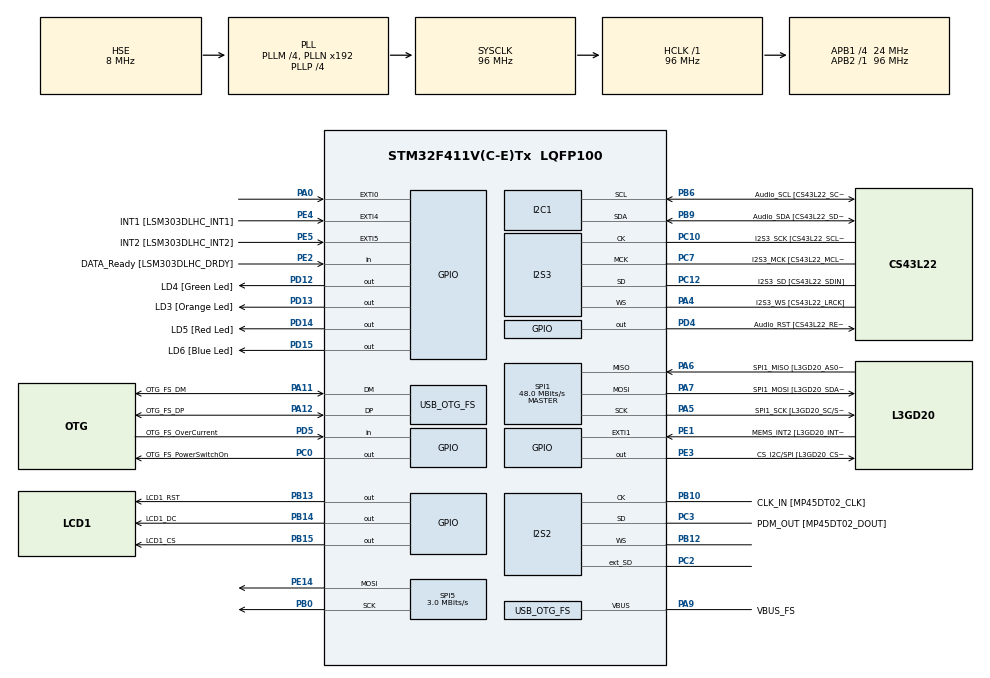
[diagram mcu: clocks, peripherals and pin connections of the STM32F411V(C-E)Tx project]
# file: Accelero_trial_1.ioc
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I2S2.AudioFreq=I2S_AUDIOFREQ_96K
I2S2.ErrorAudioFreq=0.15 %
I2S2.FullDuplexMode=I2S_FULLDUPLEXMODE_ENABLE
I2S2.Instance=SPI$Index
I2S2.RealAudioFreq=96.153 KHz
I2S2.VirtualMode=I2S_MODE_MASTER
I2S3.AudioFreq=I2S_AUDIOFREQ_96K
I2S3.ErrorAudioFreq=-6.99 %
I2S3.FullDuplexMode=I2S_FULLDUPLEXMODE_DISABLE
I2S3.Instance=SPI$Index
I2S3.RealAudioFreq=89.285 KHz
I2S3.VirtualMode=I2S_MODE_MASTER
Mcu.Family=STM32F4
Mcu.Name=STM32F411V(C-E)Tx
Mcu.Package=LQFP100
NVIC.OTG_FS_IRQn=true\:0\:0\:false\:false\:true\:true
NVIC.PriorityGroup=NVIC_PRIORITYGROUP_0
PA0-WKUP.GPIO_ModeDefaultEXTI=GPIO_MODE_EVT_RISING
PA0-WKUP.Signal=GPXTI0
PA10.GPIO_Label=OTG_FS_ID
PA10.Signal=USB_OTG_FS_ID
PA11.GPIO_Label=OTG_FS_DM
PA11.Mode=Host_Only
PA11.Signal=USB_OTG_FS_DM
PA12.GPIO_Label=OTG_FS_DP
PA12.Mode=Host_Only
PA12.Signal=USB_OTG_FS_DP
PA13.GPIO_Label=SWDIO
PA13.Mode=Serial_Wire
PA13.Signal=SYS_JTMS-SWDIO
PA14.GPIO_Label=SWCLK
PA14.Mode=Serial_Wire
PA14.Signal=SYS_JTCK-SWCLK
PA4.GPIO_Label=I2S3_WS [CS43L22_LRCK]
PA4.GPIO_Mode=GPIO_MODE_AF_PP
PA4.GPIO_PuPd=GPIO_NOPULL
PA4.GPIO_Speed=GPIO_SPEED_FREQ_LOW
PA4.Mode=Half_Duplex_Master
PA4.Signal=I2S3_WS
PA5.GPIO_Label=SPI1_SCK [L3GD20_SC/SPC]
PA5.Mode=Full_Duplex_Master
PA5.Signal=SPI1_SCK
PA6.GPIO_Label=SPI1_MISO [L3GD20_AS0/SDO]
PA6.Mode=Full_Duplex_Master
PA6.Signal=SPI1_MISO
PA7.GPIO_Label=SPI1_MOSI [L3GD20_SDA/SDI/SDO]
PA7.Mode=Full_Duplex_Master
PA7.Signal=SPI1_MOSI
PA9.GPIO_Label=VBUS_FS
PA9.Mode=Activate_VBUS
PA9.Signal=USB_OTG_FS_VBUS
PB0.Mode=TX_Only_Simplex_Unidirect_Master
PB0.Signal=SPI5_SCK
PB10.GPIO_Label=CLK_IN [MP45DT02_CLK]
PB10.Mode=Full_Duplex_Master
PB10.Signal=I2S2_CK
PB12.Mode=Full_Duplex_Master
PB12.Signal=I2S2_WS
PB13.GPIO_Label=LCD1_RST
PB13.Signal=GPIO_Output
PB14.GPIO_Label=LCD1_DC
PB14.Signal=GPIO_Output
PB15.GPIO_Label=LCD1_CS
PB15.Signal=GPIO_Output
PB3.GPIO_Label=SWO
PB3.Signal=SYS_JTDO-SWO
PB6.GPIO_Label=Audio_SCL [CS43L22_SCL]
PB6.GPIO_Mode=GPIO_MODE_AF_OD
PB6.GPIO_PuPd=GPIO_NOPULL
PB6.GPIO_Speed=GPIO_SPEED_FREQ_LOW
PB6.Mode=I2C
PB6.Signal=I2C1_SCL
PB9.GPIO_Label=Audio_SDA [CS43L22_SDA]
PB9.GPIO_Mode=GPIO_MODE_AF_OD
PB9.GPIO_PuPd=GPIO_NOPULL
PB9.GPIO_Speed=GPIO_SPEED_FREQ_LOW
PB9.Mode=I2C
PB9.Signal=I2C1_SDA
PC0.GPIO_Label=OTG_FS_PowerSwitchOn
PC0.PinState=GPIO_PIN_SET
PC0.Signal=GPIO_Output
PC10.GPIO_Label=I2S3_SCK [CS43L22_SCLK]
PC10.GPIO_Mode=GPIO_MODE_AF_PP
PC10.GPIO_PuPd=GPIO_NOPULL
PC10.GPIO_Speed=GPIO_SPEED_FREQ_LOW
PC10.Mode=Half_Duplex_Master
PC10.Signal=I2S3_CK
PC12.GPIO_Label=I2S3_SD [CS43L22_SDIN]
PC12.GPIO_Mode=GPIO_MODE_AF_PP
PC12.GPIO_PuPd=GPIO_NOPULL
PC12.GPIO_Speed=GPIO_SPEED_FREQ_LOW
PC12.Mode=Half_Duplex_Master
PC12.Signal=I2S3_SD
PC14-OSC32_IN.GPIO_Label=PC14-OSC32_IN
PC14-OSC32_IN.Mode=LSE-External-Oscillator
PC14-OSC32_IN.Signal=RCC_OSC32_IN
PC15-OSC32_OUT.GPIO_Label=PC15-OSC32_OUT
PC15-OSC32_OUT.Mode=LSE-External-Oscillator
PC15-OSC32_OUT.Signal=RCC_OSC32_OUT
PC2.Mode=Full_Duplex_Master
PC2.Signal=I2S2_ext_SD
PC3.GPIO_Label=PDM_OUT [MP45DT02_DOUT]
PC3.Mode=Full_Duplex_Master
PC3.Signal=I2S2_SD
PC7.GPIO_Label=I2S3_MCK [CS43L22_MCLK]
PC7.GPIO_Mode=GPIO_MODE_AF_PP
PC7.GPIO_PuPd=GPIO_NOPULL
PC7.GPIO_Speed=GPIO_SPEED_FREQ_LOW
PC7.Mode=Master_Clock_Activated
PC7.Signal=I2S3_MCK
PD12.GPIO_Label=LD4 [Green Led]
PD12.GPIO_PuPd=GPIO_NOPULL
PD12.GPIO_Speed=GPIO_SPEED_FREQ_LOW
PD12.Signal=GPIO_Output
PD13.GPIO_Label=LD3 [Orange Led]
PD13.GPIO_PuPd=GPIO_NOPULL
PD13.GPIO_Speed=GPIO_SPEED_FREQ_LOW
PD13.Signal=GPIO_Output
PD14.GPIO_Label=LD5 [Red Led]
PD14.GPIO_PuPd=GPIO_NOPULL
PD14.GPIO_Speed=GPIO_SPEED_FREQ_LOW
PD14.Signal=GPIO_Output
PD15.GPIO_Label=LD6 [Blue Led]
PD15.GPIO_PuPd=GPIO_NOPULL
PD15.GPIO_Speed=GPIO_SPEED_FREQ_LOW
PD15.Signal=GPIO_Output
PD4.GPIO_Label=Audio_RST [CS43L22_RESET]
PD4.Signal=GPIO_Output
PD5.GPIO_Label=OTG_FS_OverCurrent
PD5.Signal=GPIO_Input
PE1.GPIO_Label=MEMS_INT2 [L3GD20_INT2]
PE1.GPIO_ModeDefaultEXTI=GPIO_MODE_EVT_RISING
PE1.Signal=GPXTI1
PE14.Mode=TX_Only_Simplex_Unidirect_Master
PE14.Signal=SPI5_MOSI
PE2.GPIO_Label=DATA_Ready [LSM303DLHC_DRDY]
PE2.Signal=GPIO_Input
PE3.GPIO_Label=CS_I2C/SPI [L3GD20_CS_I2C/SPI]
PE3.Signal=GPIO_Output
PE4.GPIO_Label=INT1 [LSM303DLHC_INT1]
PE4.GPIO_ModeDefaultEXTI=GPIO_MODE_EVT_RISING
PE4.Signal=GPXTI4
PE5.GPIO_Label=INT2 [LSM303DLHC_INT2]
PE5.GPIO_ModeDefaultEXTI=GPIO_MODE_EVT_RISING
PE5.Signal=GPXTI5
PH0\ -\ OSC_IN.GPIO_Label=PH0-OSC_IN
PH0\ -\ OSC_IN.Mode=HSE-External-Oscillator
PH0\ -\ OSC_IN.Signal=RCC_OSC_IN
PH1\ -\ OSC_OUT.GPIO_Label=PH1-OSC_OUT
PH1\ -\ OSC_OUT.Mode=HSE-External-Oscillator
PH1\ -\ OSC_OUT.Signal=RCC_OSC_OUT
ProjectManager.HeapSize=0x200
ProjectManager.StackSize=0x400
ProjectManager.TargetToolchain=SW4STM32
RCC.48MHZClocksFreq_Value=48000000
RCC.AHBFreq_Value=96000000
RCC.APB1CLKDivider=RCC_HCLK_DIV4
RCC.APB1Freq_Value=24000000
RCC.APB1TimFreq_Value=48000000
RCC.APB2Freq_Value=96000000
RCC.APB2TimFreq_Value=96000000
RCC.CortexFreq_Value=96000000
RCC.HCLKFreq_Value=96000000
RCC.HSE_VALUE=8000000
RCC.HSI_VALUE=16000000
RCC.PLLI2SM=5
RCC.PLLI2SN=200
RCC.PLLM=4
RCC.PLLP=RCC_PLLP_DIV4
RCC.PLLQ=8
RCC.SYSCLKFreq_VALUE=96000000
RCC.SYSCLKSource=RCC_SYSCLKSOURCE_PLLCLK
RCC.VCOOutputFreq_Value=384000000
SPI1.BaudRatePrescaler=SPI_BAUDRATEPRESCALER_2
SPI1.CalculateBaudRate=48.0 MBits/s
SPI1.Direction=SPI_DIRECTION_2LINES
SPI1.Mode=SPI_MODE_MASTER
SPI1.VirtualType=VM_MASTER
SPI5.BaudRatePrescaler=SPI_BAUDRATEPRESCALER_32
SPI5.CalculateBaudRate=3.0 MBits/s
SPI5.Direction=SPI_DIRECTION_2LINES
SPI5.Mode=SPI_MODE_MASTER
SPI5.VirtualType=VM_MASTER
USB_OTG_FS.VirtualMode=Host_Only
USB_OTG_FS.phy_itface=HCD_PHY_EMBEDDED
board=32F411EDISCOVERY

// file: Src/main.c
/**
 ******************************************************************************
 * @file           : main.c
 * @brief          : Main program body
 ******************************************************************************
 ** This notice applies to any and all portions of this file
 * that are not between comment pairs USER CODE BEGIN and
 * USER CODE END. Other portions of this file, whether
 * inserted by the user or by software development tools
 * are owned by their respective copyright owners.
 *
 * COPYRIGHT(c) 2018 STMicroelectronics
 *
 * Redistribution and use in source and binary forms, with or without modification,
 * are permitted provided that the following conditions are met:
 *   1. Redistributions of source code must retain the above copyright notice,
 *      this list of conditions and the following disclaimer.
 *   2. Redistributions in binary form must reproduce the above copyright notice,
 *      this list of conditions and the following disclaimer in the documentation
 *      and/or other materials provided with the distribution.
 *   3. Neither the name of STMicroelectronics nor the names of its contributors
 *      may be used to endorse or promote products derived from this software
 *      without specific prior written permission.
 *
 * THIS SOFTWARE IS PROVIDED BY THE COPYRIGHT HOLDERS AND CONTRIBUTORS "AS IS"
 * AND ANY EXPRESS OR IMPLIED WARRANTIES, INCLUDING, BUT NOT LIMITED TO, THE
 * IMPLIED WARRANTIES OF MERCHANTABILITY AND FITNESS FOR A PARTICULAR PURPOSE ARE
 * DISCLAIMED. IN NO EVENT SHALL THE COPYRIGHT HOLDER OR CONTRIBUTORS BE LIABLE
 * FOR ANY DIRECT, INDIRECT, INCIDENTAL, SPECIAL, EXEMPLARY, OR CONSEQUENTIAL
 * DAMAGES (INCLUDING, BUT NOT LIMITED TO, PROCUREMENT OF SUBSTITUTE GOODS OR
 * SERVICES; LOSS OF USE, DATA, OR PROFITS; OR BUSINESS INTERRUPTION) HOWEVER
 * CAUSED AND ON ANY THEORY OF LIABILITY, WHETHER IN CONTRACT, STRICT LIABILITY,
 * OR TORT (INCLUDING NEGLIGENCE OR OTHERWISE) ARISING IN ANY WAY OUT OF THE USE
 * OF THIS SOFTWARE, EVEN IF ADVISED OF THE POSSIBILITY OF SUCH DAMAGE.
 *
 ******************************************************************************
 */
#include "main.h"
#include "stm32f4xx_hal.h"
#include "i2c.h"
#include "i2s.h"
#include "spi.h"
#include "usb_otg.h"
#include "gpio.h"

/* USER CODE BEGIN Includes */
#include "stm32f411e_discovery_accelerometer.h"
#include <math.h>
#include "stm32f411e_discovery_gyroscope.h"
#include "lcd5110.h"
/* USER CODE END Includes */

/* USER CODE BEGIN PV */
/* Private variables ---------------------------------------------------------*/

/* USER CODE END PV */

void SystemClock_Config(void);

/* USER CODE BEGIN PFP */
/* Private function prototypes -----------------------------------------------*/
double get_result_accelero(int16_t* buffer, double* xyz);
double get_result_gyro(float* buffer, double* xyz);
void new_data(void);
void print_results(char* dev, double* xyz, double result, double max_res);
/* USER CODE END PFP */

/* USER CODE BEGIN 0 */
LCD5110_display lcd1;
double get_result_accelero(int16_t* buffer, double* xyz) {
	double numbers[3] = { (double) (buffer[0] / 16) / 1000.0,
			(double) (buffer[1] / 16) / 1000.0, (double) (buffer[2] / 16)
					/ 1000.0 };
	double result = sqrt(
			numbers[0] * numbers[0] + numbers[1] * numbers[1]
					+ numbers[2] * numbers[2]);
	for (int i = 0; i < 3; i++) {
		xyz[i] = numbers[i];
	}
	return (result);
}
double get_result_gyro(float* buffer, double* xyz) {
	double numbers[3] = { (double) (buffer[0] / 1000), (double) (buffer[1]
			/ 1000), (double) (buffer[2]) / 1000.0 };
	double result = sqrt(
			numbers[0] * numbers[0] + numbers[1] * numbers[1]
					+ numbers[2] * numbers[2]);
	for (int i = 0; i < 3; i++) {
		xyz[i] = numbers[i];
	}
	return (result);
}
void new_data(void) {
	LCD5110_clear_scr(&lcd1);
	LCD5110_set_cursor(0, 0, &lcd1);
}
void print_results(char* dev, double* xyz, double result, double max) {
	char* xyz_dev[38];
	sprintf(xyz_dev, "%s: %g,%g,%g \n", dev, xyz[0], xyz[1], xyz[2]);
	LCD5110_print(xyz_dev, BLACK, &lcd1);
	HAL_Delay(1500);
	new_data();
	char* acc_dev[11];
	char* max_dev[11];
	sprintf(acc_dev, "%s result: %g\n", dev, result);
	LCD5110_print(acc_dev, BLACK, &lcd1);
	sprintf(max_dev, "Max %s result: %g\n", dev, max);
	LCD5110_print(max_dev, BLACK, &lcd1);
	HAL_Delay(1500);
	new_data();
}
/* USER CODE END 0 */

int main(void) {

	/* MCU Configuration----------------------------------------------------------*/

	/* Reset of all peripherals, Initializes the Flash interface and the Systick. */
	HAL_Init();

	/* Configure the system clock */
	SystemClock_Config();

	/* Initialize all configured peripherals */
	MX_GPIO_Init();
	MX_I2C1_Init();
	MX_I2S2_Init();
	MX_I2S3_Init();
	MX_SPI1_Init();
	MX_USB_OTG_FS_HCD_Init();
	MX_SPI5_Init();
	/* USER CODE BEGIN 2 */
	if (BSP_ACCELERO_Init() != HAL_OK) {
		/* Initialization Error */
		printf("Error initializing Accelero.");
		while (1) {
		}
	}
	if (BSP_GYRO_Init() != HAL_OK) {
		/* Initialization Error */
		printf("Error initializing Gyro.");
		while (1) {
		}
	}
	lcd1.hw_conf.spi_handle = &hspi5;
	lcd1.hw_conf.spi_cs_pin = LCD1_CS_Pin;
	lcd1.hw_conf.spi_cs_port = LCD1_CS_GPIO_Port;
	lcd1.hw_conf.rst_pin = LCD1_RST_Pin;
	lcd1.hw_conf.rst_port = LCD1_RST_GPIO_Port;
	lcd1.hw_conf.dc_pin = LCD1_DC_Pin;
	lcd1.hw_conf.dc_port = LCD1_DC_GPIO_Port;
	lcd1.def_scr = lcd5110_def_scr;
	LCD5110_init(&lcd1.hw_conf, LCD5110_NORMAL_MODE, 0x40, 2, 3);
	/* USER CODE END 2 */

	/* Infinite loop */
	/* USER CODE BEGIN WHILE */
	int16_t buffer_acc[3];
	float buffer_gyr[3];
	BSP_ACCELERO_GetXYZ(buffer_acc);
	BSP_GYRO_GetXYZ(buffer_gyr);
	double acc_xyz[3];
	double gyr_xyz[3];
	double max_result_acc = get_result_accelero(buffer_acc, acc_xyz);
	double cur_result_acc;
	double max_result_gyr = get_result_gyro(buffer_gyr, gyr_xyz);
	double cur_result_gyr;

	while (1)

	{
		BSP_ACCELERO_GetXYZ(buffer_acc);
		BSP_GYRO_GetXYZ(buffer_gyr);
		cur_result_acc = get_result_accelero(buffer_acc, acc_xyz);
		if (cur_result_acc > max_result_acc) {
			max_result_acc = cur_result_acc;
		}
		cur_result_gyr = get_result_gyro(buffer_gyr, gyr_xyz);
		if (cur_result_gyr > max_result_gyr) {
			max_result_gyr = cur_result_gyr;
		}
		print_results("Acc", acc_xyz, cur_result_acc, max_result_acc);
		print_results("Gyr", gyr_xyz, cur_result_gyr, max_result_gyr);
		/* USER CODE END WHILE */
	}

}

void SystemClock_Config(void) {

	RCC_OscInitTypeDef RCC_OscInitStruct;
	RCC_ClkInitTypeDef RCC_ClkInitStruct;
	RCC_PeriphCLKInitTypeDef PeriphClkInitStruct;

	/**Configure the main internal regulator output voltage
	 */
	__HAL_RCC_PWR_CLK_ENABLE()
	;

	__HAL_PWR_VOLTAGESCALING_CONFIG(PWR_REGULATOR_VOLTAGE_SCALE1);

	/**Initializes the CPU, AHB and APB busses clocks
	 */
	RCC_OscInitStruct.OscillatorType = RCC_OSCILLATORTYPE_HSE;
	RCC_OscInitStruct.HSEState = RCC_HSE_ON;
	RCC_OscInitStruct.PLL.PLLState = RCC_PLL_ON;
	RCC_OscInitStruct.PLL.PLLSource = RCC_PLLSOURCE_HSE;
	RCC_OscInitStruct.PLL.PLLM = 4;
	RCC_OscInitStruct.PLL.PLLN = 192;
	RCC_OscInitStruct.PLL.PLLP = RCC_PLLP_DIV4;
	RCC_OscInitStruct.PLL.PLLQ = 8;
	if (HAL_RCC_OscConfig(&RCC_OscInitStruct) != HAL_OK) {
		_Error_Handler(__FILE__, __LINE__);
	}

	/**Initializes the CPU, AHB and APB busses clocks
	 */
	RCC_ClkInitStruct.ClockType = RCC_CLOCKTYPE_HCLK | RCC_CLOCKTYPE_SYSCLK
			| RCC_CLOCKTYPE_PCLK1 | RCC_CLOCKTYPE_PCLK2;
	RCC_ClkInitStruct.SYSCLKSource = RCC_SYSCLKSOURCE_PLLCLK;
	RCC_ClkInitStruct.AHBCLKDivider = RCC_SYSCLK_DIV1;
	RCC_ClkInitStruct.APB1CLKDivider = RCC_HCLK_DIV4;
	RCC_ClkInitStruct.APB2CLKDivider = RCC_HCLK_DIV1;

	if (HAL_RCC_ClockConfig(&RCC_ClkInitStruct, FLASH_LATENCY_3) != HAL_OK) {
		_Error_Handler(__FILE__, __LINE__);
	}

	PeriphClkInitStruct.PeriphClockSelection = RCC_PERIPHCLK_I2S;
	PeriphClkInitStruct.PLLI2S.PLLI2SN = 200;
	PeriphClkInitStruct.PLLI2S.PLLI2SM = 5;
	PeriphClkInitStruct.PLLI2S.PLLI2SR = 2;
	if (HAL_RCCEx_PeriphCLKConfig(&PeriphClkInitStruct) != HAL_OK) {
		_Error_Handler(__FILE__, __LINE__);
	}

	/**Configure the Systick interrupt time
	 */
	HAL_SYSTICK_Config(HAL_RCC_GetHCLKFreq() / 1000);

	/**Configure the Systick
	 */
	HAL_SYSTICK_CLKSourceConfig(SYSTICK_CLKSOURCE_HCLK);

	/* SysTick_IRQn interrupt configuration */
	HAL_NVIC_SetPriority(SysTick_IRQn, 0, 0);
}

void _Error_Handler(char *file, int line) {
	while (1) {
	}
}

/************************ (C) COPYRIGHT STMicroelectronics *****END OF FILE****/
